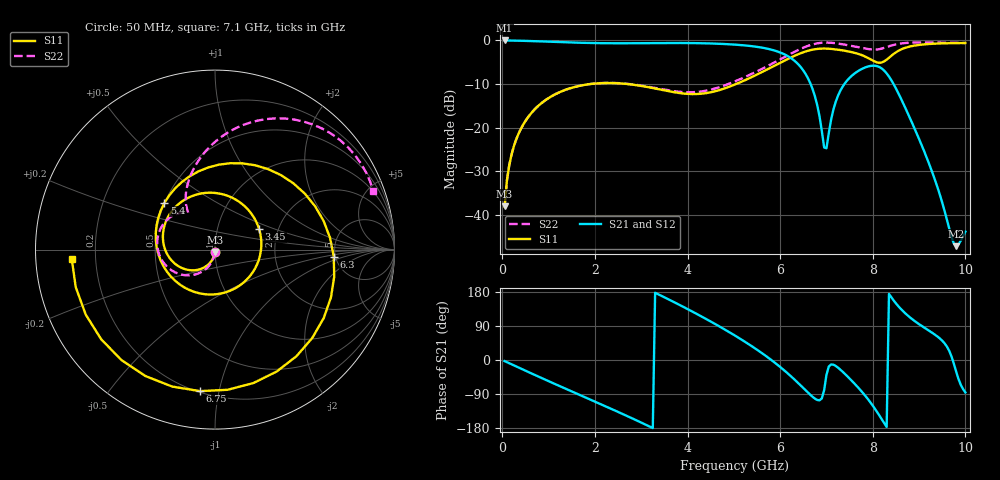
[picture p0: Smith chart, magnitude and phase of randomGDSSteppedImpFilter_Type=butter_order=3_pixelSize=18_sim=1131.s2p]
! freq	dB(S11)	phase(S11)	dB(S12)	phase(S12)
!  dB(S21)	phase(S21)	dB(S22)	phase(S22)
!S-par simulation data
#  GHz  S  DB  R 50
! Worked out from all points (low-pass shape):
!   200 points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, 50 MHz to 10 GHz, reference 50 ohm
!   highest |S21| = -0.01 dB at 50 MHz (marker M1); lowest = -47.1 dB at 9.8 GHz (marker M2)
!   |S21| within 3 dB of the highest: start of sweep to 6.056 GHz
!   lowest |S11| = -38.0 dB at 50 MHz (marker M3), VSWR 1.03, Z = 49.9 - j1.25 ohm
!   |S11| at or under -10 dB: start of sweep to 1.898 GHz; 2.711 GHz to 5.047 GHz (2.336 GHz wide, 60.2 % of centre)
!   |S22| runs from -38.0 to -0.5 dB; largest |S21 - S12| = 0
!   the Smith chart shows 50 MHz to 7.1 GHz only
!   S11 on the Smith chart (normalised r, x): 50 MHz: 1.00, -0.02; 3.45 GHz: 1.59, +0.39; 5.4 GHz: 0.50, +0.30; 6.3 GHz: 4.84, -0.66; 6.75 GHz: 0.21, -0.88; 7.1 GHz: 0.11, -0.03
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0.05  -38.04 -92.7  -0.01 -2.9  -0.01 -2.9  -38.03 -91.9
0.5  -18.46 -122.2  -0.10 -28.2  -0.10 -28.2  -18.44 -115.3
1.75  -10.24 158.6  -0.55 -96.4  -0.55 -96.4  -10.22 -172.7
3.4  -11.23 30.1  -0.60 171.5  -0.60 171.5  -11.09 132.8
3.45  -11.34 25.1  -0.60 168.5  -0.60 168.5  -11.18 131.9
4.35  -12.15 -82.1  -0.65 111.7  -0.65 111.7  -11.60 125.4
5.05  -9.99 -175.3  -0.98 62.5  -0.98 62.5  -9.27 118.3
5.4  -8.33 137.3  -1.33 35.4  -1.33 35.4  -7.60 110.3
5.9  -5.67 64.5  -2.39 -8.5  -2.39 -8.5  -4.91 93.5
6.3  -3.57 -3.3  -4.58 -50.4  -4.58 -50.4  -2.66 74.3
6.7  -2.11 -84.9  -11.13 -97.1  -11.13 -97.1  -0.91 48.4
6.75  -2.02 -96.0  -12.77 -101.9  -12.77 -101.9  -0.77 44.8
6.95  -1.86 -141.8  -24.53 -79.6  -24.53 -79.6  -0.50 30.5
7.1  -1.94 -176.4  -18.16 -11.6  -18.16 -11.6  -0.54 20.4
7.5  -2.58 93.6  -8.56 -48.9  -8.56 -48.9  -1.17 -1.6
7.85  -3.77 8.5  -6.14 -96.2  -6.14 -96.2  -1.89 -14.7
8.1  -5.06 -77.2  -5.92 -138.5  -5.92 -138.5  -2.06 -19.5
8.35  -3.96 -178.9  -8.28 174.3  -8.28 174.3  -1.33 -25.3
8.75  -1.53 83.5  -16.55 117.8  -16.55 117.8  -0.55 -42.8
9.2  -0.82 29.4  -27.81 78.5  -27.81 78.5  -0.47 -61.1
9.8  -0.61 -13.8  -47.14 -30.4  -47.14 -30.4  -0.55 -82.4
10  -0.59 -24.8  -43.82 -85.6  -43.82 -85.6  -0.60 -89.0
